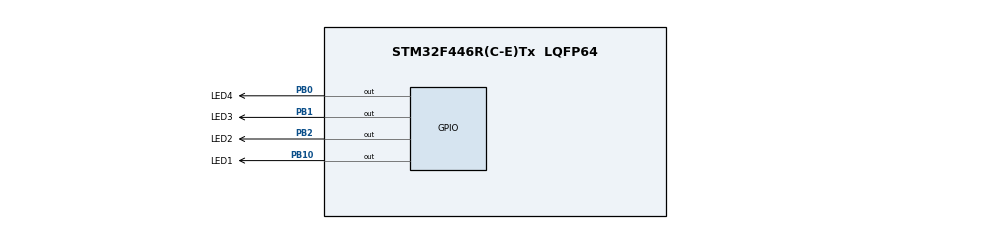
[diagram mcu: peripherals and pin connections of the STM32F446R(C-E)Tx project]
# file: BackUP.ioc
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Mcu.Family=STM32F4
Mcu.Name=STM32F446R(C-E)Tx
Mcu.Package=LQFP64
NVIC.PriorityGroup=NVIC_PRIORITYGROUP_4
PB0.GPIO_Label=LED4
PB0.Signal=GPIO_Output
PB1.GPIO_Label=LED3
PB1.Signal=GPIO_Output
PB10.GPIO_Label=LED1
PB10.Signal=GPIO_Output
PB2.GPIO_Label=LED2
PB2.Signal=GPIO_Output
ProjectManager.HeapSize=0x200
ProjectManager.StackSize=0x400
ProjectManager.TargetToolchain=MDK-ARM V5.32
RCC.CortexFreq_Value=16000000
RCC.USBFreq_Value=96000000
RCC.VCOOutputFreq_Value=192000000
board=custom

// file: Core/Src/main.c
/* USER CODE BEGIN Header */
/**
  ******************************************************************************
  * @file           : main.c
  * @brief          : Main program body
  ******************************************************************************
  * @attention
  *
  * <h2><center>&copy; Copyright (c) 2021 STMicroelectronics.
  * All rights reserved.</center></h2>
  *
  * This software component is licensed by ST under BSD 3-Clause license,
  * the "License"; You may not use this file except in compliance with the
  * License. You may obtain a copy of the License at:
  *                        opensource.org/licenses/BSD-3-Clause
  *
  ******************************************************************************
  */
/* USER CODE END Header */
#include "main.h"

/* USER CODE BEGIN Includes */
#include "BkpSram.h"
/* USER CODE END Includes */

void SystemClock_Config(void);
static void MX_GPIO_Init(void);

int main(void)
{

  /* MCU Configuration--------------------------------------------------------*/

  /* Reset of all peripherals, Initializes the Flash interface and the Systick. */
  HAL_Init();

  /* Configure the system clock */
  SystemClock_Config();

  /* Initialize all configured peripherals */
  MX_GPIO_Init();
  /* USER CODE BEGIN 2 */
	BKP_SRAM_Init() ;
	BKPSRAM_Write16(1 ,125) ;
	HAL_Delay(1000)  ;
	BKPSRAM_Write8(3 ,50) ;
	HAL_Delay(1) ;
	BKPSRAM_Write32(4 , 20) ;
	HAL_Delay(1) ;
	BKPSRAM_Write8(8 , 30) ;
	HAL_Delay(1) ;

  /* USER CODE END 2 */

  /* Infinite loop */
  while (1)
  {

    /* USER CODE BEGIN 3 */
		if(BKPSRAM_Read16(1) ==125)
		{
		HAL_GPIO_TogglePin(LED1_GPIO_Port, LED1_Pin ) ;
		HAL_Delay(1000) ;
		}
		if(BKPSRAM_Read8(3 ) ==50)
		{
			HAL_GPIO_TogglePin(LED2_GPIO_Port , LED2_Pin ) ;
			HAL_Delay(1000) ;
		}
		if(BKPSRAM_Read32(4) ==20)
		{

			HAL_GPIO_TogglePin(LED3_GPIO_Port ,LED3_Pin) ;
			HAL_Delay(1000) ;
		}
		if(BKPSRAM_Read8(8) ==30)
		{

			HAL_GPIO_TogglePin(LED4_GPIO_Port ,LED4_Pin) ;
			HAL_Delay(1000) ;
		}
  }
  /* USER CODE END 3 */
}

void SystemClock_Config(void)
{
  RCC_OscInitTypeDef RCC_OscInitStruct = {0};
  RCC_ClkInitTypeDef RCC_ClkInitStruct = {0};

  /** Configure the main internal regulator output voltage
  */
  __HAL_RCC_PWR_CLK_ENABLE();
  __HAL_PWR_VOLTAGESCALING_CONFIG(PWR_REGULATOR_VOLTAGE_SCALE3);
  /** Initializes the RCC Oscillators according to the specified parameters
  * in the RCC_OscInitTypeDef structure.
  */
  RCC_OscInitStruct.OscillatorType = RCC_OSCILLATORTYPE_HSI;
  RCC_OscInitStruct.HSIState = RCC_HSI_ON;
  RCC_OscInitStruct.HSICalibrationValue = RCC_HSICALIBRATION_DEFAULT;
  RCC_OscInitStruct.PLL.PLLState = RCC_PLL_NONE;
  if (HAL_RCC_OscConfig(&RCC_OscInitStruct) != HAL_OK)
  {
    Error_Handler();
  }
  /** Initializes the CPU, AHB and APB buses clocks
  */
  RCC_ClkInitStruct.ClockType = RCC_CLOCKTYPE_HCLK|RCC_CLOCKTYPE_SYSCLK
                              |RCC_CLOCKTYPE_PCLK1|RCC_CLOCKTYPE_PCLK2;
  RCC_ClkInitStruct.SYSCLKSource = RCC_SYSCLKSOURCE_HSI;
  RCC_ClkInitStruct.AHBCLKDivider = RCC_SYSCLK_DIV1;
  RCC_ClkInitStruct.APB1CLKDivider = RCC_HCLK_DIV1;
  RCC_ClkInitStruct.APB2CLKDivider = RCC_HCLK_DIV1;

  if (HAL_RCC_ClockConfig(&RCC_ClkInitStruct, FLASH_LATENCY_0) != HAL_OK)
  {
    Error_Handler();
  }
}

static void MX_GPIO_Init(void)
{
  GPIO_InitTypeDef GPIO_InitStruct = {0};

  /* GPIO Ports Clock Enable */
  __HAL_RCC_GPIOB_CLK_ENABLE();

  /*Configure GPIO pin Output Level */
  HAL_GPIO_WritePin(GPIOB, LED4_Pin|LED3_Pin|LED2_Pin|LED1_Pin, GPIO_PIN_RESET);

  /*Configure GPIO pins : LED4_Pin LED3_Pin LED2_Pin LED1_Pin */
  GPIO_InitStruct.Pin = LED4_Pin|LED3_Pin|LED2_Pin|LED1_Pin;
  GPIO_InitStruct.Mode = GPIO_MODE_OUTPUT_PP;
  GPIO_InitStruct.Pull = GPIO_NOPULL;
  GPIO_InitStruct.Speed = GPIO_SPEED_FREQ_LOW;
  HAL_GPIO_Init(GPIOB, &GPIO_InitStruct);

}

void Error_Handler(void)
{
  __disable_irq();
  while (1)
  {
  }
}

/************************ (C) COPYRIGHT STMicroelectronics *****END OF FILE****/
